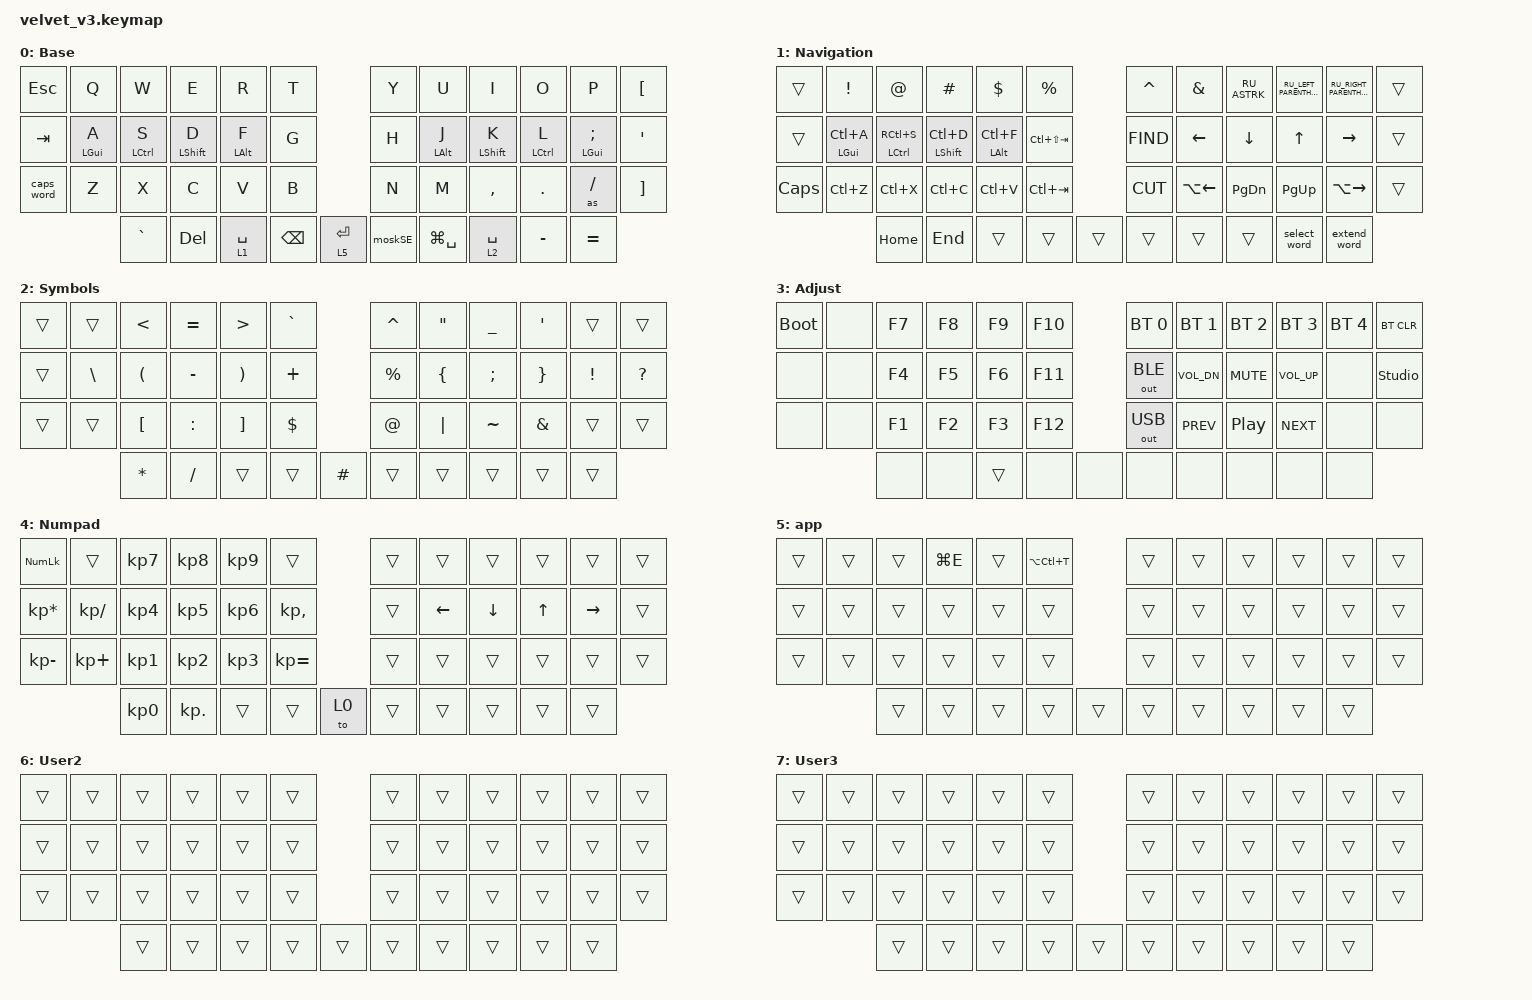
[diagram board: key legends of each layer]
#include "keys_ru.h"
#include <behaviors.dtsi>
#include <dt-bindings/zmk/bt.h>
#include <dt-bindings/zmk/keys.h>
#include <dt-bindings/zmk/outputs.h>

/ {
    behaviors {
        hrm: hrm {
            compatible = "zmk,behavior-hold-tap";
            label = "HRM";
            bindings = <&kp>, <&kp>;

            #binding-cells = <2>;
            tapping-term-ms = <160>;
            flavor = "balanced";
        };

        hml: hml {
            compatible = "zmk,behavior-hold-tap";
            label = "HML";
            bindings = <&kp>, <&kp>;

            #binding-cells = <2>;
            hold-trigger-key-positions = <6 7 8 9 10 11 18 19 20 21 22 23 30 31 32 33 34 35 42 43 44 45 41>;
            tapping-term-ms = <280>;
            require-prior-idle-ms = <125>;
            quick-tap-ms = <175>;
            flavor = "balanced";
            hold-trigger-on-release;
        };

        hmr: hmr {
            compatible = "zmk,behavior-hold-tap";
            label = "HMR";
            bindings = <&kp>, <&kp>;

            #binding-cells = <2>;
            tapping-term-ms = <250>;
            require-prior-idle-ms = <125>;
            quick-tap-ms = <175>;
            flavor = "balanced";
            hold-trigger-on-release;
            hold-trigger-key-positions = <0 1 2 3 4 5 12 13 14 15 16 17 24 25 26 27 28 29 36 37 38 39 40>;
        };

        as_ht: as_ht {
            compatible = "zmk,behavior-hold-tap";
            label = "AS_HT";
            bindings = <&shift>, <&kp>;

            #binding-cells = <2>;
            tapping-term-ms = <170>;
        };

        fmt: fmt {
            compatible = "zmk,behavior-hold-tap";
            label = "FMT";
            bindings = <&kp>, <&kp>;

            #binding-cells = <2>;
            tapping-term-ms = <170>;
            flavor = "tap-preferred";
        };

        hmlsh: hmlsh {
            compatible = "zmk,behavior-hold-tap";
            label = "HMLSH";
            bindings = <&kp>, <&kp>;

            #binding-cells = <2>;
            hold-trigger-key-positions = <6 7 8 9 10 11 18 19 20 21 22 23 30 31 32 33 34 35 42 43 44 45 41 40>;
            tapping-term-ms = <280>;
            require-prior-idle-ms = <125>;
            quick-tap-ms = <175>;
            flavor = "balanced";
            hold-trigger-on-release;
        };

        hmlct: hmlct {
            compatible = "zmk,behavior-hold-tap";
            label = "HMLCT";
            bindings = <&kp>, <&kp>;

            #binding-cells = <2>;
            hold-trigger-key-positions = <6 7 8 9 10 11 18 19 20 21 22 23 30 31 32 33 34 35 42 43 44 45 41 27 28>;
            tapping-term-ms = <280>;
            require-prior-idle-ms = <125>;
            quick-tap-ms = <175>;
            flavor = "balanced";
            hold-trigger-on-release;
        };

        mosk: mosk {
            compatible = "zmk,behavior-hold-tap";
            label = "MOSK";
            bindings = <&mo>, <&sk>;

            #binding-cells = <2>;
            tapping-term-ms = <170>;
            flavor = "balanced";
            hold-while-undecided;
            quick-tap-ms = <125>;
        };

        moskSE: moskSE {
            compatible = "zmk,behavior-tap-dance";
            label = "MOSKSE";
            #binding-cells = <0>;
            bindings = <&mosk 4 RIGHT_SHIFT>, <&kp LS(ENTER)>;

            tapping-term-ms = <190>;
        };

        select_word: select_word {
            compatible = "zmk,behavior-mod-morph";
            label = "SELECT_WORD";
            bindings = <&select_word_right>, <&select_word_left>;

            #binding-cells = <0>;
            mods = <(MOD_LSFT)>;
        };

        extend_word: extend_word {
            compatible = "zmk,behavior-mod-morph";
            label = "EXTEND_WORD";
            bindings = <&extend_right>, <&extend_left>;

            #binding-cells = <0>;
            mods = <(MOD_LSFT)>;
        };
    };

    combos {
        compatible = "zmk,combos";

        pastemac {
            bindings = <&sk LS(LA(LEFT_CONTROL))>;
            key-positions = <44 45>;
        };

        senter {
            bindings = <&kp LS(ENTER)>;
            key-positions = <36 37>;
        };

        app {
            bindings = <&mo 5>;
            key-positions = <39 38>;
            layers = <0>;
        };
    };

    macros {
        as: as {
            compatible = "zmk,behavior-macro-one-param";
            #binding-cells = <1>;
            bindings =
                <&macro_press>,
                <&macro_param_1to1 &macro_param_1to2 &as_ht MACRO_PLACEHOLDER MACRO_PLACEHOLDER>,
                <&macro_pause_for_release>,
                <&macro_release>,
                <&macro_param_1to1 &macro_param_1to2 &as_ht MACRO_PLACEHOLDER MACRO_PLACEHOLDER>;

            label = "AS";
        };

        shift: shift {
            compatible = "zmk,behavior-macro-one-param";
            #binding-cells = <1>;
            bindings =
                <&macro_press>,
                <&kp LEFT_SHIFT>,
                <&macro_tap>,
                <&macro_param_1to1 &kp MACRO_PLACEHOLDER>,
                <&macro_release>,
                <&kp LEFT_SHIFT>;

            label = "SHIFT";
        };

        select_word_left: sel_wrd {
            compatible = "zmk,behavior-macro";
            #binding-cells = <0>;
            bindings =
                <&macro_tap>,
                <&kp LA(RIGHT_ARROW)>,
                <&macro_press>,
                <&kp LS(LA(LEFT_ARROW))>,
                <&macro_pause_for_release>,
                <&macro_release>,
                <&kp LS(LA(LEFT_ARROW))>;

            label = "sel_wrd";
        };

        select_word_right: sel_wrd_right {
            compatible = "zmk,behavior-macro";
            #binding-cells = <0>;
            bindings =
                <&macro_tap>,
                <&kp LA(LEFT_ARROW)>,
                <&macro_press>,
                <&kp LS(LA(RIGHT_ARROW))>,
                <&macro_pause_for_release>,
                <&macro_release>,
                <&kp LS(LA(RIGHT_ARROW))>;

            label = "sel_wrd_right";
        };

        extend_left: extend_left {
            compatible = "zmk,behavior-macro";
            #binding-cells = <0>;
            bindings =
                <&macro_press>,
                <&kp LS(LA(LEFT_ARROW))>,
                <&macro_pause_for_release>,
                <&macro_release>,
                <&kp LS(LA(LEFT_ARROW))>;

            label = "EXTEND_LEFT";
        };

        extend_right: extend_right {
            compatible = "zmk,behavior-macro";
            #binding-cells = <0>;
            bindings =
                <&macro_press>,
                <&kp LS(LA(RIGHT_ARROW))>,
                <&macro_pause_for_release>,
                <&macro_release>,
                <&kp LS(LA(RIGHT_ARROW))>;

            label = "EXTEND_RIGHT";
        };
    };

    keymap {
        compatible = "zmk,keymap";

        base {
            bindings = <
&kp ESC     &kp Q              &kp W                  &kp E              &kp R            &kp T                                  &kp Y          &kp U            &kp I              &kp O                &kp P               &kp LEFT_BRACKET
&kp TAB     &hmlsh LEFT_GUI A  &hmlct LEFT_CONTROL S  &hml LEFT_SHIFT D  &hml LEFT_ALT F  &kp G                                  &kp H          &hmr LEFT_ALT J  &hmr LEFT_SHIFT K  &hmr LEFT_CONTROL L  &hmr LEFT_GUI SEMI  &kp SQT
&caps_word  &kp Z              &kp X                  &kp C              &kp V            &kp B                                  &kp N          &kp M            &kp COMMA          &kp DOT              &as SLASH           &kp RIGHT_BRACKET
                               &kp GRAVE              &kp DELETE         &lt 1 SPACE      &kp BACKSPACE  &lt 5 ENTER    &moskSE  &kp LG(SPACE)  &lt 2 SPACE      &kp MINUS          &kp EQUAL
            >;

            display-name = "Base";
        };

        nav {
            bindings = <
&trans    &kp EXCL               &kp AT_SIGN                &kp HASH               &kp DOLLAR           &kp PERCENT                        &kp CARET   &kp AMPS      &kp RU_ASTRK   &kp RU_LEFT_PARENTHESIS  &kp RU_RIGHT_PARENTHESIS  &trans
&trans    &hmlsh LEFT_GUI LC(A)  &hmlct LEFT_CONTROL RC(S)  &hml LEFT_SHIFT LC(D)  &hml LEFT_ALT LC(F)  &kp LC(LS(TAB))                    &kp K_FIND  &kp LEFT      &kp DOWN       &kp UP                   &kp RIGHT                 &trans
&kp CLCK  &kp LC(Z)              &kp LC(X)                  &kp LC(C)              &kp LC(V)            &kp LC(TAB)                        &kp K_CUT   &kp LA(LEFT)  &kp PAGE_DOWN  &kp PAGE_UP              &kp LA(RIGHT)             &trans
                                 &kp HOME                   &kp END                &trans               &trans           &trans    &trans  &trans      &trans        &select_word   &extend_word
            >;

            display-name = "Navigation";
        };

        sym {
            bindings = <
&trans  &trans    &kp LT            &kp EQUAL  &kp GT             &kp GRAVE                      &kp CARET  &kp DQT   &kp UNDER  &kp SQT   &trans    &trans
&trans  &kp BSLH  &kp LPAR          &kp MINUS  &kp RPAR           &kp PLUS                       &kp PRCNT  &kp LBRC  &kp SEMI   &kp RBRC  &kp EXCL  &kp QUESTION
&trans  &trans    &kp LEFT_BRACKET  &kp COLON  &kp RIGHT_BRACKET  &kp DLLR                       &kp AT     &kp PIPE  &kp TILDE  &kp AMPS  &trans    &trans
                  &kp STAR          &kp SLASH  &trans             &trans     &kp HASH    &trans  &trans     &trans    &trans     &trans
            >;

            display-name = "Symbols";
        };

        adj {
            bindings = <
&bootloader  &none  &kp F7  &kp F8  &kp F9  &kp F10                  &bt BT_SEL 0  &bt BT_SEL 1  &bt BT_SEL 2  &bt BT_SEL 3  &bt BT_SEL 4  &bt BT_CLR
&none        &none  &kp F4  &kp F5  &kp F6  &kp F11                  &out OUT_BLE  &kp C_VOL_DN  &kp K_MUTE    &kp C_VOL_UP  &none         &studio_unlock
&none        &none  &kp F1  &kp F2  &kp F3  &kp F12                  &out OUT_USB  &kp C_PREV    &kp C_PP      &kp C_NEXT    &none         &none
                    &none   &none   &trans  &none    &none    &none  &none         &none         &none         &none
            >;

            display-name = "Adjust";
        };

        num {
            bindings = <
&kp KP_NLCK      &trans         &kp KP_N7  &kp KP_N8   &kp KP_N9  &trans                         &trans  &trans          &trans          &trans        &trans           &trans
&kp KP_MULTIPLY  &kp KP_DIVIDE  &kp KP_N4  &kp KP_N5   &kp KP_N6  &kp KP_COMMA                   &trans  &kp LEFT_ARROW  &kp DOWN_ARROW  &kp UP_ARROW  &kp RIGHT_ARROW  &trans
&kp KP_SUBTRACT  &kp KP_PLUS    &kp KP_N1  &kp KP_N2   &kp KP_N3  &kp KP_EQUAL                   &trans  &trans          &trans          &trans        &trans           &trans
                                &kp KP_N0  &kp KP_DOT  &trans     &trans        &to 0    &trans  &trans  &trans          &trans          &trans
            >;

            display-name = "Numpad";
        };

        App {
            bindings = <
&trans  &trans  &trans  &kp LG(E)  &trans  &kp LA(LC(T))                    &trans  &trans  &trans  &trans  &trans  &trans
&trans  &trans  &trans  &trans     &trans  &trans                           &trans  &trans  &trans  &trans  &trans  &trans
&trans  &trans  &trans  &trans     &trans  &trans                           &trans  &trans  &trans  &trans  &trans  &trans
                &trans  &trans     &trans  &trans         &trans    &trans  &trans  &trans  &trans  &trans
            >;

            display-name = "app";
        };

        User2 {
            bindings = <
&trans  &trans  &trans  &trans  &trans  &trans                    &trans  &trans  &trans  &trans  &trans  &trans
&trans  &trans  &trans  &trans  &trans  &trans                    &trans  &trans  &trans  &trans  &trans  &trans
&trans  &trans  &trans  &trans  &trans  &trans                    &trans  &trans  &trans  &trans  &trans  &trans
                &trans  &trans  &trans  &trans  &trans    &trans  &trans  &trans  &trans  &trans
            >;

            display-name = "User2";
        };

        User3 {
            bindings = <
&trans  &trans  &trans  &trans  &trans  &trans                    &trans  &trans  &trans  &trans  &trans  &trans
&trans  &trans  &trans  &trans  &trans  &trans                    &trans  &trans  &trans  &trans  &trans  &trans
&trans  &trans  &trans  &trans  &trans  &trans                    &trans  &trans  &trans  &trans  &trans  &trans
                &trans  &trans  &trans  &trans  &trans    &trans  &trans  &trans  &trans  &trans
            >;

            display-name = "User3";
        };
    };

    conditional_layers {
        compatible = "zmk,conditional-layers";

        adj {
            if-layers = <1 2>;
            then-layer = <3>;
        };
    };
};
